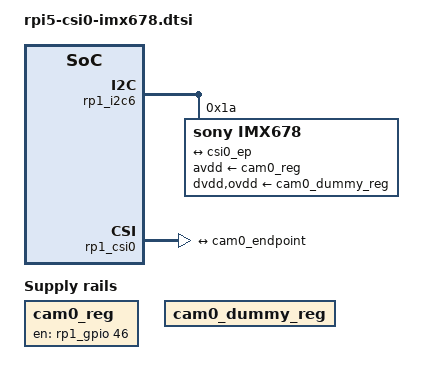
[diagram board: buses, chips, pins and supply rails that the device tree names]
/* IMX678 Camera on CSI0 */

/ {
    cam0_clk: cam0_clk {
	    compatible = "fixed-clock";
	    #clock-cells = <0>;
		status = "okay";
		clock-frequency = <24000000>;
    };

    cam0_reg: cam0_reg {
	    compatible = "regulator-fixed";
	    regulator-name = "cam0_reg";
	    enable-active-high;
	    status = "okay";
	    startup-delay-us = <200000>;
	    off-on-delay-us = <30000>;
	    gpio = <&rp1_gpio 46 0>;  // CD1_IO0_MICCLK, to MIPI 1 connector
    };

    cam0_dummy_reg: cam0_dummy_reg {
	    compatible = "regulator-fixed";
	    regulator-name = "cam-dummy-reg";
	    status = "okay";
    };
};

&rp1_i2c6 {
	#address-cells = <1>;
	#size-cells = <0>;
	status = "okay";

	imx678@1a {
		compatible = "sony,imx678";
		reg = <0x1a>;
	    	status = "okay";

		clocks = <&cam0_clk>;

		avdd-supply = <&cam0_reg>;	/* 3.3v */
		dvdd-supply = <&cam0_dummy_reg>;	/* 1.1v */
		ovdd-supply = <&cam0_dummy_reg>;	/* 1.8v */

		rotation = <0>;
		orientation = <2>;

		port {
			cam0_endpoint: endpoint {
				remote-endpoint = <&csi0_ep>;
				clock-lanes = <0>;
				data-lanes = <1 2 3 4>;
				clock-noncontinuous;
				link-frequencies = /bits/ 64 <720000000>;
			};
		};
	};
};

&rp1_csi0 {
	status = "okay";

	port {
		csi0_ep: endpoint {
			remote-endpoint = <&cam0_endpoint>;
			clock-lanes = <0>;
			data-lanes = <1 2 3 4>;
			clock-noncontinuous;
		};
	};
};
